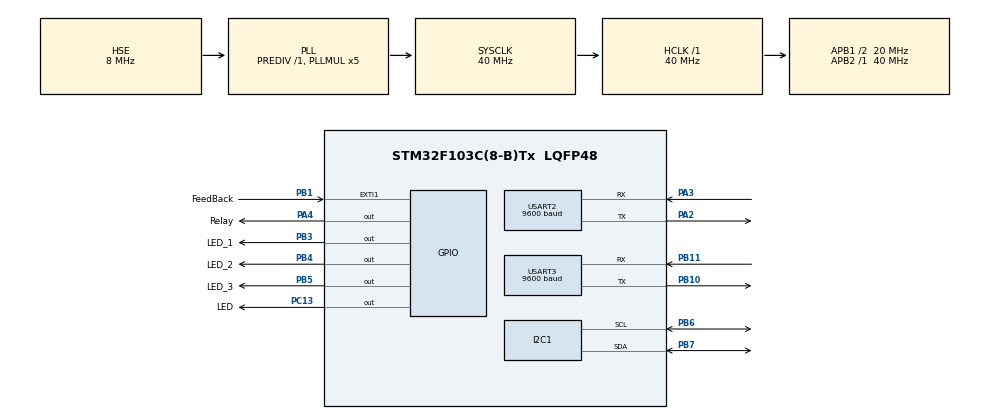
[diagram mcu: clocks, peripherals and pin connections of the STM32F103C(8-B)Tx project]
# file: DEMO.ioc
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Mcu.Family=STM32F1
Mcu.Name=STM32F103C(8-B)Tx
Mcu.Package=LQFP48
NVIC.EXTI1_IRQn=true\:1\:0\:true\:false\:true\:true\:true\:true
NVIC.PriorityGroup=NVIC_PRIORITYGROUP_4
NVIC.USART2_IRQn=true\:1\:0\:true\:false\:true\:true\:true\:true
NVIC.USART3_IRQn=true\:0\:0\:true\:false\:true\:true\:true\:true
PA13.Mode=Serial_Wire
PA13.Signal=SYS_JTMS-SWDIO
PA14.Mode=Serial_Wire
PA14.Signal=SYS_JTCK-SWCLK
PA2.Mode=Asynchronous
PA2.Signal=USART2_TX
PA3.Mode=Asynchronous
PA3.Signal=USART2_RX
PA4.GPIO_Label=Relay
PA4.GPIO_PuPd=GPIO_PULLUP
PA4.Signal=GPIO_Output
PB1.GPIO_Label=FeedBack
PB1.GPIO_ModeDefaultEXTI=GPIO_MODE_IT_RISING_FALLING
PB1.Signal=GPXTI1
PB10.Mode=Asynchronous
PB10.Signal=USART3_TX
PB11.Mode=Asynchronous
PB11.Signal=USART3_RX
PB3.GPIO_Label=LED_1
PB3.Signal=GPIO_Output
PB4.GPIO_Label=LED_2
PB4.Signal=GPIO_Output
PB5.GPIO_Label=LED_3
PB5.Signal=GPIO_Output
PB6.Mode=I2C
PB6.Signal=I2C1_SCL
PB7.Mode=I2C
PB7.Signal=I2C1_SDA
PC13-TAMPER-RTC.GPIO_Label=LED
PC13-TAMPER-RTC.Signal=GPIO_Output
PD0-OSC_IN.Mode=HSE-External-Oscillator
PD0-OSC_IN.Signal=RCC_OSC_IN
PD1-OSC_OUT.Mode=HSE-External-Oscillator
PD1-OSC_OUT.Signal=RCC_OSC_OUT
ProjectManager.HeapSize=0x200
ProjectManager.StackSize=0x400
ProjectManager.TargetToolchain=STM32CubeIDE
RCC.ADCPresc=RCC_ADCPCLK2_DIV8
RCC.AHBFreq_Value=40000000
RCC.APB1CLKDivider=RCC_HCLK_DIV2
RCC.APB1Freq_Value=20000000
RCC.APB1TimFreq_Value=40000000
RCC.APB2Freq_Value=40000000
RCC.APB2TimFreq_Value=40000000
RCC.HCLKFreq_Value=40000000
RCC.PLLMUL=RCC_PLL_MUL5
RCC.PLLSourceVirtual=RCC_PLLSOURCE_HSE
RCC.SYSCLKFreq_VALUE=40000000
RCC.SYSCLKSource=RCC_SYSCLKSOURCE_PLLCLK
RCC.USBFreq_Value=40000000
USART2.BaudRate=9600
USART2.VirtualMode=VM_ASYNC
USART3.BaudRate=9600
USART3.VirtualMode=VM_ASYNC
board=custom

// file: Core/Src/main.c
/* USER CODE BEGIN Header */
/**
  ******************************************************************************
  * @file           : main.c
  * @brief          : Main program body
  ******************************************************************************
  * @attention
  *
  * Copyright (c) 2023 STMicroelectronics.
  * All rights reserved.
  *
  * This software is licensed under terms that can be found in the LICENSE file
  * in the root directory of this software component.
  * If no LICENSE file comes with this software, it is provided AS-IS.
  *
  ******************************************************************************
  */
/* USER CODE END Header */
#include "main.h"

/* USER CODE BEGIN PM */
#define wait_time		53		//10S
#define TIMEOUT			3000	//ms

#define PH_V1			1063
#define PH_1			10.1
#define PH_V2			1804
#define PH_2			5.39
#define PH_OFFSET		0

#define STX				0x02
#define ETX				0x03
#define ACK				0x06
#define NAK				0x15

#define Device_ID		0x01
#define RK50004			0x0A	//Dissolved Oxygen

#define Frame_OK		1
#define Frame_Error		0

#define ADS1115_ADDRESS 0x48
#define READ_CONVERSION 0x00
#define CONFIG_REGISTER 0x01
#define A0 0x04
#define A1 0x05
#define A2 0x06
#define A3 0x07
#define GAIN_6114 0x00
#define GAIN_4096 0x01
#define GAIN_2048 0x02
#define MODE_CONTINOUS 0
#define MODE_SINGLE_SHOT 1
#define LSB_REGISTER 0x83

/* USER CODE END PM */

I2C_HandleTypeDef hi2c1;

void SystemClock_Config(void);
static void MX_GPIO_Init(void);
static void MX_USART2_UART_Init(void);
static void MX_USART3_UART_Init(void);
static void MX_I2C1_Init(void);
/* USER CODE BEGIN PFP */
void SysTick_Interrupt();
void SysTick_Init(uint32_t time);
void Delay_ms(uint32_t mS);

void USART1_RXNE_CallBack();
void USART2_RXNE_CallBack();
void USART3_RXNE_CallBack();

void Lora_Send(uint8_t dat);
void Lora_Buffer_Write(uint8_t dat);

void ACK_Send();
void NAK_Send();
void Send_Data();
void Frame_Send(USART_TypeDef *USARTx , uint8_t *buff , uint8_t length);
void Frame_Process(uint8_t datalength);

void Led1_On()		{LL_GPIO_SetOutputPin(LED_1_GPIO_Port, LED_1_Pin);}				// Power
void Led1_Off()		{LL_GPIO_ResetOutputPin(LED_1_GPIO_Port, LED_1_Pin);}
void Led2_On()		{LL_GPIO_SetOutputPin(LED_2_GPIO_Port, LED_2_Pin);}				// Relay
void Led2_Off()		{LL_GPIO_ResetOutputPin(LED_2_GPIO_Port, LED_2_Pin);}
void Led3_On()		{LL_GPIO_SetOutputPin(LED_3_GPIO_Port, LED_3_Pin);}				// Feedback
void Led3_Off()		{LL_GPIO_ResetOutputPin(LED_3_GPIO_Port, LED_3_Pin);}
void Relay_On()		{LL_GPIO_SetOutputPin(Relay_GPIO_Port, Relay_Pin);}
void Relay_Off()	{LL_GPIO_ResetOutputPin(Relay_GPIO_Port, Relay_Pin);}

void FeedBack();
void Buffer_Clear(uint8_t *data, uint8_t datleng);
void float2ascii(uint8_t *data ,float num , uint8_t length2);
uint16_t CRC_Cal(unsigned char *buffer, unsigned int length);
void Modbus_configframe(USART_TypeDef *USARTx,uint8_t slaveAddr, uint8_t FC, uint16_t startAddr, uint16_t numRegisters);
uint8_t ModBus_Read(USART_TypeDef *USARTx,uint32_t RX_Buff,uint8_t *RX_Index,uint8_t slaveAddr, uint8_t FC, uint16_t startAddr, uint16_t numRegisters);

float pH_Cal(float val);

uint8_t ADS1115_Init(uint8_t adc_in, uint8_t gain, uint8_t mode);
float Read_Voltage(uint8_t adc_in, uint8_t gain, uint8_t mode);

/* USER CODE END PFP */

/* USER CODE BEGIN 0 */
uint8_t RX3_Buffer[20],TX3_Buffer[99];	//LORA
uint8_t RX3_Temp = 0,TX3_Temp = 0;

//uint8_t RX2_Buffer[50];
//uint8_t RX2_Temp = 10;

uint8_t RX2_Buffer[50];			// DO
uint8_t RX2_Temp = 0;

char data[5][6] = {"id","relay","ph","do","temp"};
char value[5][10] = {"7","-","-","-","-"};

uint8_t fail = 0;
uint32_t Led_count;
uint32_t silent_interval;
uint32_t Send_Interval = 1000*wait_time;
uint32_t timeout;

float pH_Temp;
float pH_Voltage;
float ph_Val;
//float a_ph,b_ph;

uint8_t ADS_Buffer[10];

uint8_t Relay_status;

/* USER CODE END 0 */

int main(void)
{

  /* MCU Configuration--------------------------------------------------------*/

  /* Reset of all peripherals, Initializes the Flash interface and the Systick. */
  HAL_Init();

  /* Configure the system clock */
  SystemClock_Config();

  /* Initialize all configured peripherals */
  MX_GPIO_Init();
  MX_USART2_UART_Init();
  MX_USART3_UART_Init();
  MX_I2C1_Init();
  /* USER CODE BEGIN 2 */
  if(LL_GPIO_IsInputPinSet(GPIOB, FeedBack_Pin))
  {
	  value[1][0] = 0x30;
	  Led3_Off();
  }
  else
  {
	  value[1][0] = 0x31;
	  Led3_On();
  }
  SysTick_Init(1000);
  /* USER CODE END 2 */

  /* Infinite loop */
  while (1)
  {

    /* USER CODE BEGIN 3 */
	if(Send_Interval >= wait_time*1000)
	{
	  Send_Data();
	  while(timeout < 1000);
	  Frame_Send(USART3, TX3_Buffer, TX3_Temp);
	  timeout = 0;
	  Send_Interval = 0;
	}

	if(Relay_status)
	{
	  Relay_status = 0;
	  Frame_Process(2);
	  while(timeout < 1000);
	  Frame_Send(USART3, TX3_Buffer, TX3_Temp);
	  //timeout = 0;
	}
  }
  /* USER CODE END 3 */
}

void SystemClock_Config(void)
{
  RCC_OscInitTypeDef RCC_OscInitStruct = {0};
  RCC_ClkInitTypeDef RCC_ClkInitStruct = {0};

  /** Initializes the RCC Oscillators according to the specified parameters
  * in the RCC_OscInitTypeDef structure.
  */
  RCC_OscInitStruct.OscillatorType = RCC_OSCILLATORTYPE_HSE;
  RCC_OscInitStruct.HSEState = RCC_HSE_ON;
  RCC_OscInitStruct.HSEPredivValue = RCC_HSE_PREDIV_DIV1;
  RCC_OscInitStruct.HSIState = RCC_HSI_ON;
  RCC_OscInitStruct.PLL.PLLState = RCC_PLL_ON;
  RCC_OscInitStruct.PLL.PLLSource = RCC_PLLSOURCE_HSE;
  RCC_OscInitStruct.PLL.PLLMUL = RCC_PLL_MUL5;
  if (HAL_RCC_OscConfig(&RCC_OscInitStruct) != HAL_OK)
  {
    Error_Handler();
  }

  /** Initializes the CPU, AHB and APB buses clocks
  */
  RCC_ClkInitStruct.ClockType = RCC_CLOCKTYPE_HCLK|RCC_CLOCKTYPE_SYSCLK
                              |RCC_CLOCKTYPE_PCLK1|RCC_CLOCKTYPE_PCLK2;
  RCC_ClkInitStruct.SYSCLKSource = RCC_SYSCLKSOURCE_PLLCLK;
  RCC_ClkInitStruct.AHBCLKDivider = RCC_SYSCLK_DIV1;
  RCC_ClkInitStruct.APB1CLKDivider = RCC_HCLK_DIV2;
  RCC_ClkInitStruct.APB2CLKDivider = RCC_HCLK_DIV1;

  if (HAL_RCC_ClockConfig(&RCC_ClkInitStruct, FLASH_LATENCY_1) != HAL_OK)
  {
    Error_Handler();
  }
}

static void MX_I2C1_Init(void)
{

  hi2c1.Instance = I2C1;
  hi2c1.Init.ClockSpeed = 100000;
  hi2c1.Init.DutyCycle = I2C_DUTYCYCLE_2;
  hi2c1.Init.OwnAddress1 = 0;
  hi2c1.Init.AddressingMode = I2C_ADDRESSINGMODE_7BIT;
  hi2c1.Init.DualAddressMode = I2C_DUALADDRESS_DISABLE;
  hi2c1.Init.OwnAddress2 = 0;
  hi2c1.Init.GeneralCallMode = I2C_GENERALCALL_DISABLE;
  hi2c1.Init.NoStretchMode = I2C_NOSTRETCH_DISABLE;
  if (HAL_I2C_Init(&hi2c1) != HAL_OK)
  {
    Error_Handler();
  }

}

static void MX_USART2_UART_Init(void)
{

  LL_USART_InitTypeDef USART_InitStruct = {0};

  LL_GPIO_InitTypeDef GPIO_InitStruct = {0};

  /* Peripheral clock enable */
  LL_APB1_GRP1_EnableClock(LL_APB1_GRP1_PERIPH_USART2);

  LL_APB2_GRP1_EnableClock(LL_APB2_GRP1_PERIPH_GPIOA);
  /**USART2 GPIO Configuration
  PA2   ------> USART2_TX
  PA3   ------> USART2_RX
  */
  GPIO_InitStruct.Pin = LL_GPIO_PIN_2;
  GPIO_InitStruct.Mode = LL_GPIO_MODE_ALTERNATE;
  GPIO_InitStruct.Speed = LL_GPIO_SPEED_FREQ_HIGH;
  GPIO_InitStruct.OutputType = LL_GPIO_OUTPUT_PUSHPULL;
  LL_GPIO_Init(GPIOA, &GPIO_InitStruct);

  GPIO_InitStruct.Pin = LL_GPIO_PIN_3;
  GPIO_InitStruct.Mode = LL_GPIO_MODE_FLOATING;
  LL_GPIO_Init(GPIOA, &GPIO_InitStruct);

  /* USART2 interrupt Init */
  NVIC_SetPriority(USART2_IRQn, NVIC_EncodePriority(NVIC_GetPriorityGrouping(),1, 0));
  NVIC_EnableIRQ(USART2_IRQn);

  USART_InitStruct.BaudRate = 9600;
  USART_InitStruct.DataWidth = LL_USART_DATAWIDTH_8B;
  USART_InitStruct.StopBits = LL_USART_STOPBITS_1;
  USART_InitStruct.Parity = LL_USART_PARITY_NONE;
  USART_InitStruct.TransferDirection = LL_USART_DIRECTION_TX_RX;
  USART_InitStruct.HardwareFlowControl = LL_USART_HWCONTROL_NONE;
  USART_InitStruct.OverSampling = LL_USART_OVERSAMPLING_16;
  LL_USART_Init(USART2, &USART_InitStruct);
  LL_USART_ConfigAsyncMode(USART2);
  LL_USART_Enable(USART2);
  /* USER CODE BEGIN USART2_Init 2 */
  LL_USART_EnableIT_RXNE(USART2);
  /* USER CODE END USART2_Init 2 */

}

static void MX_USART3_UART_Init(void)
{

  LL_USART_InitTypeDef USART_InitStruct = {0};

  LL_GPIO_InitTypeDef GPIO_InitStruct = {0};

  /* Peripheral clock enable */
  LL_APB1_GRP1_EnableClock(LL_APB1_GRP1_PERIPH_USART3);

  LL_APB2_GRP1_EnableClock(LL_APB2_GRP1_PERIPH_GPIOB);
  /**USART3 GPIO Configuration
  PB10   ------> USART3_TX
  PB11   ------> USART3_RX
  */
  GPIO_InitStruct.Pin = LL_GPIO_PIN_10;
  GPIO_InitStruct.Mode = LL_GPIO_MODE_ALTERNATE;
  GPIO_InitStruct.Speed = LL_GPIO_SPEED_FREQ_HIGH;
  GPIO_InitStruct.OutputType = LL_GPIO_OUTPUT_PUSHPULL;
  LL_GPIO_Init(GPIOB, &GPIO_InitStruct);

  GPIO_InitStruct.Pin = LL_GPIO_PIN_11;
  GPIO_InitStruct.Mode = LL_GPIO_MODE_FLOATING;
  LL_GPIO_Init(GPIOB, &GPIO_InitStruct);

  /* USART3 interrupt Init */
  NVIC_SetPriority(USART3_IRQn, NVIC_EncodePriority(NVIC_GetPriorityGrouping(),0, 0));
  NVIC_EnableIRQ(USART3_IRQn);

  USART_InitStruct.BaudRate = 9600;
  USART_InitStruct.DataWidth = LL_USART_DATAWIDTH_8B;
  USART_InitStruct.StopBits = LL_USART_STOPBITS_1;
  USART_InitStruct.Parity = LL_USART_PARITY_NONE;
  USART_InitStruct.TransferDirection = LL_USART_DIRECTION_TX_RX;
  USART_InitStruct.HardwareFlowControl = LL_USART_HWCONTROL_NONE;
  USART_InitStruct.OverSampling = LL_USART_OVERSAMPLING_16;
  LL_USART_Init(USART3, &USART_InitStruct);
  LL_USART_ConfigAsyncMode(USART3);
  LL_USART_Enable(USART3);
  /* USER CODE BEGIN USART3_Init 2 */
  LL_USART_EnableIT_RXNE(USART3);
  /* USER CODE END USART3_Init 2 */

}

static void MX_GPIO_Init(void)
{
  LL_EXTI_InitTypeDef EXTI_InitStruct = {0};
  LL_GPIO_InitTypeDef GPIO_InitStruct = {0};

  /* GPIO Ports Clock Enable */
  LL_APB2_GRP1_EnableClock(LL_APB2_GRP1_PERIPH_GPIOC);
  LL_APB2_GRP1_EnableClock(LL_APB2_GRP1_PERIPH_GPIOD);
  LL_APB2_GRP1_EnableClock(LL_APB2_GRP1_PERIPH_GPIOA);
  LL_APB2_GRP1_EnableClock(LL_APB2_GRP1_PERIPH_GPIOB);

  /**/
  LL_GPIO_ResetOutputPin(LED_GPIO_Port, LED_Pin);

  /**/
  LL_GPIO_ResetOutputPin(Relay_GPIO_Port, Relay_Pin);

  /**/
  LL_GPIO_ResetOutputPin(GPIOB, LED_1_Pin|LED_2_Pin|LED_3_Pin);

  /**/
  GPIO_InitStruct.Pin = LED_Pin;
  GPIO_InitStruct.Mode = LL_GPIO_MODE_OUTPUT;
  GPIO_InitStruct.Speed = LL_GPIO_SPEED_FREQ_LOW;
  GPIO_InitStruct.OutputType = LL_GPIO_OUTPUT_PUSHPULL;
  LL_GPIO_Init(LED_GPIO_Port, &GPIO_InitStruct);

  /**/
  GPIO_InitStruct.Pin = Relay_Pin;
  GPIO_InitStruct.Mode = LL_GPIO_MODE_OUTPUT;
  GPIO_InitStruct.Speed = LL_GPIO_SPEED_FREQ_LOW;
  GPIO_InitStruct.OutputType = LL_GPIO_OUTPUT_PUSHPULL;
  GPIO_InitStruct.Pull = LL_GPIO_PULL_UP;
  LL_GPIO_Init(Relay_GPIO_Port, &GPIO_InitStruct);

  /**/
  GPIO_InitStruct.Pin = LED_1_Pin|LED_2_Pin|LED_3_Pin;
  GPIO_InitStruct.Mode = LL_GPIO_MODE_OUTPUT;
  GPIO_InitStruct.Speed = LL_GPIO_SPEED_FREQ_LOW;
  GPIO_InitStruct.OutputType = LL_GPIO_OUTPUT_PUSHPULL;
  LL_GPIO_Init(GPIOB, &GPIO_InitStruct);

  /**/
  LL_GPIO_AF_SetEXTISource(LL_GPIO_AF_EXTI_PORTB, LL_GPIO_AF_EXTI_LINE1);

  /**/
  EXTI_InitStruct.Line_0_31 = LL_EXTI_LINE_1;
  EXTI_InitStruct.LineCommand = ENABLE;
  EXTI_InitStruct.Mode = LL_EXTI_MODE_IT;
  EXTI_InitStruct.Trigger = LL_EXTI_TRIGGER_RISING_FALLING;
  LL_EXTI_Init(&EXTI_InitStruct);

  /**/
  LL_GPIO_SetPinMode(FeedBack_GPIO_Port, FeedBack_Pin, LL_GPIO_MODE_FLOATING);

  /* EXTI interrupt init*/
  NVIC_SetPriority(EXTI1_IRQn, NVIC_EncodePriority(NVIC_GetPriorityGrouping(),1, 0));
  NVIC_EnableIRQ(EXTI1_IRQn);

}

/* USER CODE BEGIN 4 */
void SysTick_Init(uint32_t time)
{
  SysTick->VAL = 0;
  SysTick->LOAD = 40*time-1;
  silent_interval = 0;
  SysTick->CTRL = (SysTick_CTRL_ENABLE_Msk|SysTick_CTRL_CLKSOURCE_Msk|SysTick_CTRL_TICKINT_Msk);
}

void Delay_ms(uint32_t mS)
{
  uint32_t time = mS;
  SysTick_Init(1000);
  while(time != 0)
     while((SysTick->CTRL & SysTick_CTRL_COUNTFLAG_Msk) == SysTick_CTRL_COUNTFLAG_Msk)
	time--;

}
void SysTick_Interrupt()
{
	silent_interval++;
	Send_Interval++;
	Led_count++;
	timeout++;
	if(Led_count < 500)
		LL_GPIO_SetOutputPin(LED_1_GPIO_Port, LED_1_Pin);
	else
		LL_GPIO_ResetOutputPin(LED_1_GPIO_Port, LED_1_Pin);
	if(Led_count >= 5500)
		Led_count = 0;
}

void Lora_Send(uint8_t dat)
{
	  LL_USART_TransmitData8(USART3,dat);
	  while(!LL_USART_IsActiveFlag_TC(USART3));
}

void Lora_Buffer_Write(uint8_t dat)
{
	TX3_Buffer[TX3_Temp] = dat;
	if(TX3_Temp == 0xFF)	TX3_Temp = 0;
	else					TX3_Temp++;
}
void ACK_Send()
{
	Lora_Send(STX);
	Lora_Send(ACK);
	Lora_Send(ETX);
}
void NAK_Send()
{
	Lora_Send(STX);
	Lora_Send(NAK);
	Lora_Send(ETX);
}
void Frame_Send(USART_TypeDef *USARTx , uint8_t *buff , uint8_t length)
{
	for(uint8_t i = 0 ; i < length ; i++)
	{
		LL_USART_TransmitData8(USARTx,buff[i]);
		while(!LL_USART_IsActiveFlag_TC(USARTx));
	}
}

void Frame_Process(uint8_t datalength)
{
	uint8_t nchar,n,m,i,CheckSum;

	TX3_Temp = 0;
	Lora_Buffer_Write(STX);
	TX3_Temp = 2;
	Lora_Buffer_Write('{');
	for(nchar = 0 ; nchar < datalength ;nchar ++)
	{
	    Lora_Buffer_Write('"');
	    for(n = 0 ; n < 6 ; n++)
	    {
	    	if(data[nchar][n] == 0)	break;
	    	Lora_Buffer_Write(data[nchar][n]);
	    }
	    Lora_Buffer_Write('"');
	    Lora_Buffer_Write(':');
	    Lora_Buffer_Write('"');
	    for(m = 0 ; m < 5 ; m++)
	    {
	    	if(value[nchar][m] == 0)	break;
	    	Lora_Buffer_Write(value[nchar][m]);
	    }
	    Lora_Buffer_Write('"');
	    if(nchar < datalength - 1)
	    	Lora_Buffer_Write(',');
	    else
	    	Lora_Buffer_Write('}');
	    if(nchar == 1)	Relay_status = 0;
	}
	CheckSum = TX3_Temp - 2;
	TX3_Buffer[1] = CheckSum;
	CheckSum = 0;
	for(i = 1 ; i < TX3_Temp; i++)
	   CheckSum += TX3_Buffer[i];
	Lora_Buffer_Write(CheckSum);
	Lora_Buffer_Write(ETX);
}

void FeedBack()
{
  if(LL_GPIO_IsInputPinSet(GPIOB, FeedBack_Pin))
	{
		value[1][0] = 0x30;
		Led3_Off();
	}
	else
	{
		value[1][0] = 0x31;
		Led3_On();
	}
	Relay_status = 1;
}

void float2ascii(uint8_t *data ,float num , uint8_t length2)	// length.length2
{
	uint8_t i = 0;
	uint32_t qwe = 1;
	int32_t numvalue;
	uint8_t length = 1;
	*data = 0;
	data += 9;
	if(length2 != 0)	length2++;
	for(i = 0 ; i < 9 ; i++)
	{
		*data = 0;
		data--;
	}
	if(num<0)
	{
		*data = '-';
		num = -num;
		data++;
	}
	numvalue = (uint32_t)num;
	for(i = 0 ; i < 10 ; i++)
	{	numvalue = numvalue/10;
		if(numvalue == 0)	break;
		else
			length++;
	}

	data += length + length2 - 1;

	for(i = 1 ; i < length2 ; i++)
		qwe *= 10;
	numvalue = (uint32_t)(num*qwe);

	for(i = 1;i <= length + length2;i++)
	{
		if(i == length2)
			*data = '.';
		else
		{
			*data = numvalue%10 + 0x30;
			numvalue = numvalue/10;
		}
		data--;
	}
}

void Buffer_Clear(uint8_t *data, uint8_t datleng)
{
	for(uint8_t i = 0 ; i < datleng ; i++)
		*data = 0;
}
uint16_t CRC_Cal(unsigned char *buffer, unsigned int length)
{
     uint16_t i, j, temp_bit, temp_int, crc;
     crc = 0xFFFF;
     for (i=0; i < length; i++)
     {
         temp_int = (char) *buffer++;
         crc ^= temp_int;
         for(j=0; j<8; j++)
         {
             temp_bit = crc & 0x0001;
             crc >>= 1;
             if (temp_bit != 0) crc ^= 0xA001;
         }
     }
     return crc;
}

void Modbus_configframe(USART_TypeDef *USARTx,uint8_t slaveAddr, uint8_t FC, uint16_t startAddr, uint16_t numRegisters)
{
  uint8_t txBuffer[8];

  txBuffer[0] = slaveAddr;
  txBuffer[1] = FC;
  txBuffer[2] = startAddr >> 8;
  txBuffer[3] = startAddr & 0xFF;
  txBuffer[4] = numRegisters >> 8;
  txBuffer[5] = numRegisters & 0xFF;

  // CRC
  uint16_t crc = CRC_Cal(txBuffer, 6);
  txBuffer[6] = crc & 0xFF;
  txBuffer[7] = crc >> 8;
  Frame_Send(USARTx, txBuffer, 8);
}

uint8_t ModBus_Read(USART_TypeDef *USARTx,uint32_t RX_Buff,uint8_t *RX_Index,uint8_t slaveAddr, uint8_t FC, uint16_t startAddr, uint16_t numRegisters)
{
	uint8_t repeat = 3;
	  while(repeat > 0)
	  {
		  *RX_Index = 0;
		  Modbus_configframe(USARTx, slaveAddr, FC, startAddr, numRegisters);
		  silent_interval = 0;
		  while(silent_interval < 500)
			  if(*RX_Index != 0) break;

		  if(*RX_Index == 0)
		  {		//Timeout  -> Send again
			  repeat--;
			  continue;
		  }
		  else
		  {					//Ok
			  silent_interval = 0;
			  while(1)				// wait for received frame sucessfully
				  if(silent_interval >= 5) break;
			  if(CRC_Cal(RX_Buff, *RX_Index) == 0x0000)
				  return Frame_OK;
			  else
				  return Frame_Error;
		  }
	  }
	  return Frame_Error;
}

void Send_Data()
{
	uint32_t DO_Temp;
	uint32_t Nhietdo_Temp;

	float DO_val;
	float Nhietdo_val;

	pH_Temp = 0;
	for(uint8_t i = 0 ; i < 10 ; i ++)
	{
		  pH_Voltage = Read_Voltage(A2, GAIN_4096, MODE_SINGLE_SHOT);
		  silent_interval = 0;
		  while(silent_interval < 5);
		  pH_Temp +=  pH_Voltage;
	}
	pH_Voltage = pH_Temp/10;
	ph_Val = pH_Cal(pH_Voltage);

	float2ascii(value[2],ph_Val,2);
	//float2ascii(value[3],orp_Val,0);

	if(ModBus_Read(USART2, RX2_Buffer, &RX2_Temp, RK50004, 3, 0, 6) == Frame_OK)
	{
		  if(RX2_Buffer[0] == RK50004 && RX2_Buffer[1] == 0x03 && RX2_Buffer[2] == 0x0C)
		  {
			  DO_Temp = (RX2_Buffer[3] << 24) | (RX2_Buffer[4] << 16) | (RX2_Buffer[5] << 8) | RX2_Buffer[6];
			  DO_val = *(float*)&DO_Temp;
			  float2ascii(value[3], DO_val,  2);
			  Nhietdo_Temp = (RX2_Buffer[11] << 24) | (RX2_Buffer[12] << 16) | (RX2_Buffer[13] << 8) | RX2_Buffer[14];
			  Nhietdo_val = *(float*)&Nhietdo_Temp;
			  float2ascii(value[4], Nhietdo_val,  2);
		  }
		  Buffer_Clear(RX2_Buffer,50);
	}
	Frame_Process(5);
	//Frame_Send(USART3, TX3_Buffer, TX3_Temp);

}
void USART3_RXNE_CallBack()
{
	if(LL_USART_IsActiveFlag_RXNE(USART3))
	{
		RX3_Buffer[RX3_Temp++] = LL_USART_ReceiveData8(USART3);
		if(RX3_Buffer[0] != STX)	RX3_Temp = 0;
		else
		{
			if((RX3_Temp > 2)&&(RX3_Buffer[2] == ETX))
			{
				ACK_Send();
				if(RX3_Buffer[1] == '0')
				{
					Relay_Off();
					Led2_Off();
				}
				if(RX3_Buffer[1] == '1')
				{
					Relay_On();
					Led2_On();
				}
				RX3_Temp = 0;
				RX3_Buffer[0] = 0;
				RX3_Buffer[1] = 0;
				RX3_Buffer[2] = 0;
			}
		}
		LL_USART_ClearFlag_RXNE(USART3);
	}

	if(RX3_Temp > 19)	RX3_Temp = 0;
	LL_GPIO_TogglePin(LED_GPIO_Port, LED_Pin);
	timeout = 0;

}
void USART2_RXNE_CallBack()
{
	if(LL_USART_IsActiveFlag_RXNE(USART2))
	{
		RX2_Buffer[RX2_Temp++] = LL_USART_ReceiveData8(USART2);
		silent_interval = 0;
		if(RX2_Temp > 50)	RX2_Temp = 0;
		LL_USART_ClearFlag_RXNE(USART2);
	}
	LL_GPIO_TogglePin(LED_GPIO_Port, LED_Pin);
	/*
    RX2_Buffer[RX2_Temp++] = LL_USART_ReceiveData8(USART2);
    LL_USART_ClearFlag_RXNE(USART2);
    RX2_Temp++;
    silent_interval = 0;
    if(RX2_Temp > 50)	RX2_Temp = 0;
    LL_GPIO_TogglePin(LED_GPIO_Port, LED_Pin);*/
}

float pH_Cal(float val)
{
	return PH_OFFSET + PH_1 + (PH_2 - PH_1)*(val - PH_V1)/(PH_V2 - PH_V1);
}

uint8_t ADS1115_Init(uint8_t adc_in, uint8_t gain, uint8_t mode)
{
    return 0x80|mode|(adc_in << 4)|(gain << 1);
}

float Read_Voltage(uint8_t adc_in, uint8_t gain, uint8_t mode)
{
	float factor;
	uint16_t ADS_Value;
	ADS_Buffer[0] = CONFIG_REGISTER;
	ADS_Buffer[1] = ADS1115_Init(adc_in, gain, mode);
	ADS_Buffer[2] = LSB_REGISTER;
	HAL_I2C_Master_Transmit(&hi2c1, ADS1115_ADDRESS << 1, ADS_Buffer, 3, 100);
	ADS_Buffer[0] = READ_CONVERSION;
	HAL_I2C_Master_Transmit(&hi2c1, ADS1115_ADDRESS << 1, ADS_Buffer, 1, 100);
	HAL_I2C_Master_Receive(&hi2c1, ADS1115_ADDRESS << 1, ADS_Buffer, 2, 100);
	ADS_Value = ADS_Buffer[0] << 8 | ADS_Buffer[1];
	if (ADS_Value < 0)	ADS_Value = 0;
	if (gain == 0x00)	factor = 6114.0/32767.0;
	else if (gain == 0x01)	factor = 4096.0/32767.0;
	else	factor = 2048.0/32767.0;
	return 	factor * (float)ADS_Value;
}

/* USER CODE END 4 */

void Error_Handler(void)
{
  /* USER CODE BEGIN Error_Handler_Debug */
  /* User can add his own implementation to report the HAL error return state */
  __disable_irq();
  while (1)
  {
	  Led1_On();
	  Led2_On();
	  Led3_On();
  }
  /* USER CODE END Error_Handler_Debug */
}
